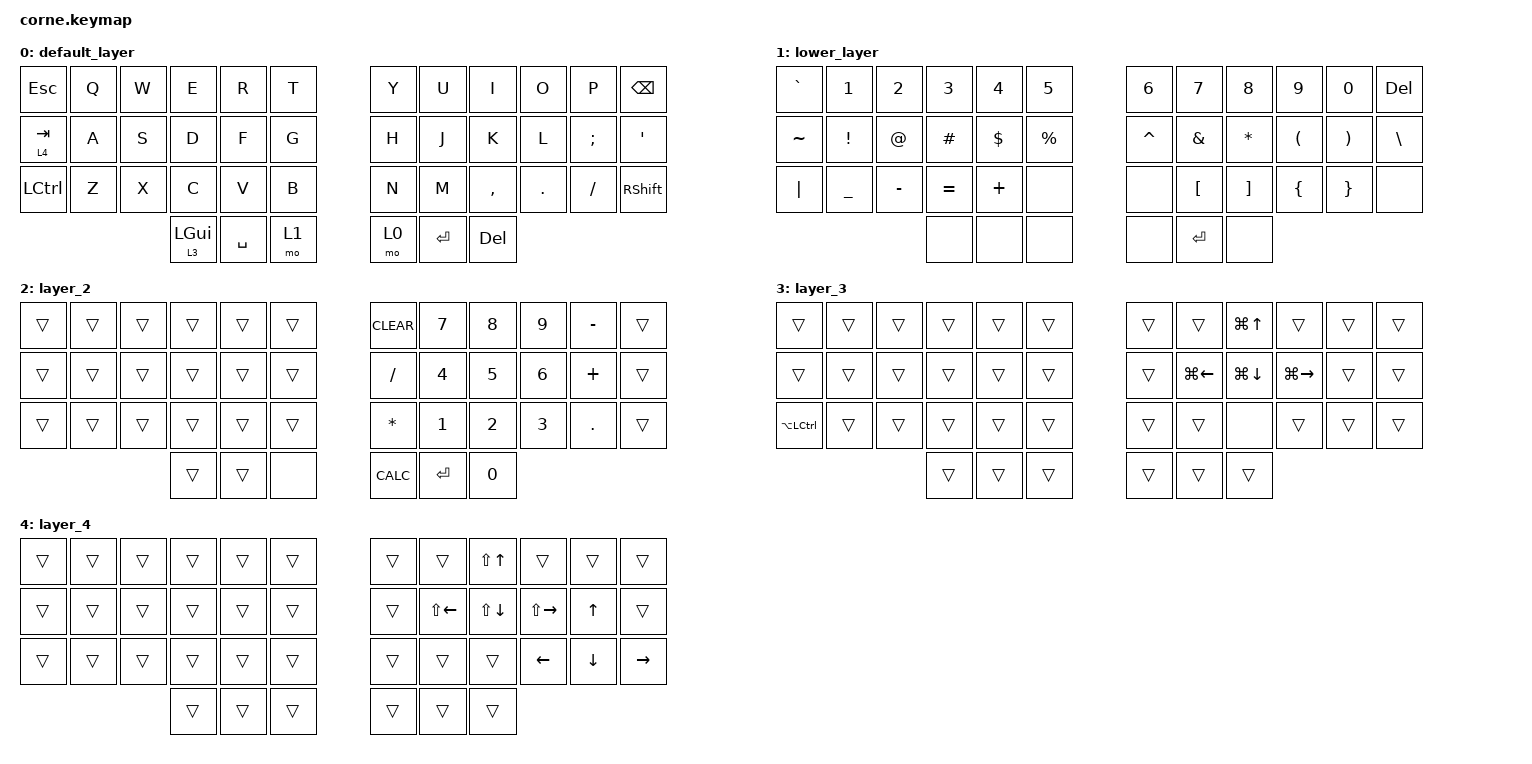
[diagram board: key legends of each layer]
/*
 * Copyright (c) 2020 The ZMK Contributors
 *
 * SPDX-License-Identifier: MIT
 */

#include <behaviors.dtsi>
#include <dt-bindings/zmk/keys.h>

/ {
    combos {
        compatible = "zmk,combos";

        number_pad {
            bindings = <&to 2>;
            key-positions = <38 39>;
            layers = <0>;
        };

        to_default {
            bindings = <&to 0>;
            key-positions = <0 38 39>;
            layers = <2>;
        };
    };

    behaviors {
        hold_tap: hold_tap {
            compatible = "zmk,behavior-hold-tap";
            label = "HOLD_TAP";
            bindings = <&mo>, <&kp>;

            #binding-cells = <2>;
            hold-trigger-key-positions = <36>;
            tapping-term-ms = <200>;
        };
    };

    keymap {
        compatible = "zmk,keymap";

        default_layer {
            // -----------------------------------------------------------------------------------------
            // |  TAB |  Q  |  W  |  E  |  R  |  T  |   |  Y  |  U   |  I  |  O  |  P  | BSPC |
            // | CTRL |  A  |  S  |  D  |  F  |  G  |   |  H  |  J   |  K  |  L  |  ;  |  '   |
            // | SHFT |  Z  |  X  |  C  |  V  |  B  |   |  N  |  M   |  ,  |  .  |  /  | ESC  |
            //                    | GUI | LWR | SPC |   | ENT | RSE  | ALT |

            bindings = <
&kp ESCAPE        &kp Q  &kp W  &kp E                 &kp R      &kp T    &kp Y  &kp U      &kp I       &kp O    &kp P     &kp BSPC
&hold_tap 4 TAB   &kp A  &kp S  &kp D                 &kp F      &kp G    &kp H  &kp J      &kp K       &kp L    &kp SEMI  &kp SQT
&kp LEFT_CONTROL  &kp Z  &kp X  &kp C                 &kp V      &kp B    &kp N  &kp M      &kp COMMA   &kp DOT  &kp FSLH  &kp RIGHT_SHIFT
                                &hold_tap 3 LEFT_GUI  &kp SPACE  &mo 1    &mo 0  &kp ENTER  &kp DELETE
            >;
        };

        lower_layer {
            // -----------------------------------------------------------------------------------------
            // |  TAB |  1  |  2  |  3  |  4  |  5  |   |  6  |  7  |  8  |  9  |  0  | BSPC |
            // | BTCLR| BT1 | BT2 | BT3 | BT4 | BT5 |   | LFT | DWN |  UP | RGT |     |      |
            // | SHFT |     |     |     |     |     |   |     |     |     |     |     |      |
            //                    | GUI |     | SPC |   | ENT |     | ALT |

            bindings = <
&kp GRAVE  &kp N1     &kp N2       &kp N3     &kp N4      &kp N5         &kp N6     &kp N7            &kp N8             &kp N9                &kp N0                 &kp DELETE
&kp TILDE  &kp EXCL   &kp AT_SIGN  &kp POUND  &kp DOLLAR  &kp PERCENT    &kp CARET  &kp AMPS          &kp ASTERISK       &kp LEFT_PARENTHESIS  &kp RIGHT_PARENTHESIS  &kp BACKSLASH
&kp PIPE   &kp UNDER  &kp MINUS    &kp EQUAL  &kp PLUS    &none          &none      &kp LEFT_BRACKET  &kp RIGHT_BRACKET  &kp LEFT_BRACE        &kp RIGHT_BRACE        &none
                                   &none      &none       &none          &none      &kp ENTER         &none
            >;
        };

        layer_2 {
            bindings = <
&trans  &trans  &trans  &trans  &trans  &trans    &kp CLEAR   &kp N7        &kp N8        &kp N9        &kp MINUS   &trans
&trans  &trans  &trans  &trans  &trans  &trans    &kp SLASH   &kp NUMBER_4  &kp N5        &kp NUMBER_6  &kp PLUS    &trans
&trans  &trans  &trans  &trans  &trans  &trans    &kp ASTRK   &kp NUMBER_1  &kp NUMBER_2  &kp NUMBER_3  &kp PERIOD  &trans
                        &trans  &trans  &none     &kp K_CALC  &kp ENTER     &kp N0
            >;
        };

        layer_3 {
            bindings = <
&trans         &trans  &trans  &trans  &trans  &trans    &trans  &trans        &kp LG(UP_ARROW)  &trans         &trans  &trans
&trans         &trans  &trans  &trans  &trans  &trans    &trans  &kp LG(LEFT)  &kp LG(DOWN)      &kp LG(RIGHT)  &trans  &trans
&kp LA(LCTRL)  &trans  &trans  &trans  &trans  &trans    &trans  &trans        &none             &trans         &trans  &trans
                               &trans  &trans  &trans    &trans  &trans        &trans
            >;
        };

        layer_4 {
            bindings = <
&trans  &trans  &trans  &trans  &trans  &trans    &trans  &trans              &kp LS(UP_ARROW)    &trans          &trans        &trans
&trans  &trans  &trans  &trans  &trans  &trans    &trans  &kp LS(LEFT_ARROW)  &kp LS(DOWN_ARROW)  &kp LS(RIGHT)   &kp UP_ARROW  &trans
&trans  &trans  &trans  &trans  &trans  &trans    &trans  &trans              &trans              &kp LEFT_ARROW  &kp DOWN      &kp RIGHT
                        &trans  &trans  &trans    &trans  &trans              &trans
            >;
        };
    };
};
